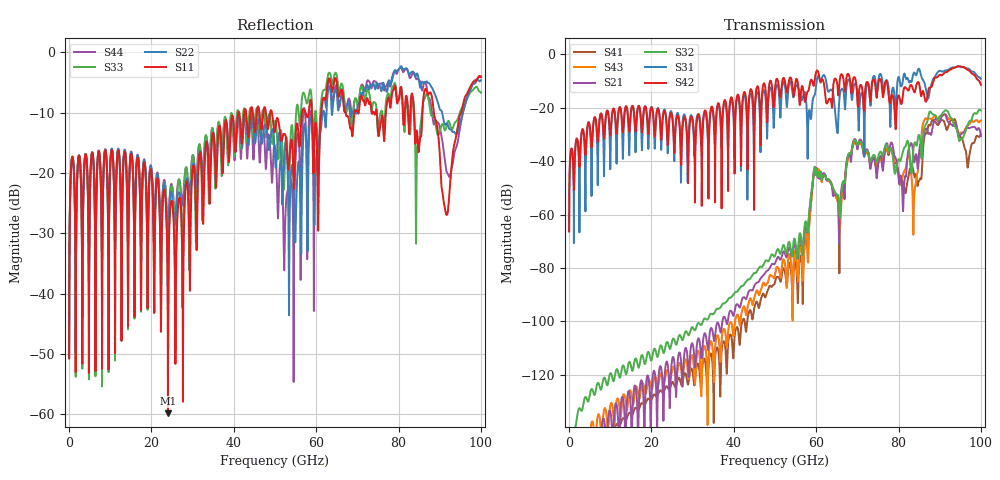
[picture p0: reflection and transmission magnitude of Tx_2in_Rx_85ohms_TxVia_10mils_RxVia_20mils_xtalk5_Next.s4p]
! Info: Touchstone file created by Circ.  Input file=Tx_2in_Rx_85ohms_TxVia_10mils_RxVia_20mils.circ
# Hz S RI R 50
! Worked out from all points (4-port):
!   10000 points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, 10 MHz to 100 GHz, reference 50 ohm
!   strongest paths, dB at 10 MHz, 25.01 GHz, 50.01 GHz, 75.01 GHz, 100 GHz:
!     S42: -66.3, -23.1, -12.7, -11.8, -11.4
!     S31: -66.3, -22.5, -15.9, -11.2, -9.1
!     S32: -177.6, -107.4, -75.4, -38.7, -20.9
!     S21: -, -114.4, -78.3, -41.5, -30.6
!     S43: -154.4, -118.2, -82.3, -40.6, -24.8
!     S41: -154.5, -122.8, -85.3, -41.2, -30.0
!   lowest |S11| = -59.9 dB at 24 GHz (marker M1), VSWR 1.00, Z = 50 - j0.101 ohm
!   |S11| at or under -10 dB: start of sweep to 41.09 GHz; 49.25 GHz to 56.56 GHz (7.302 GHz wide, 13.8 % of centre); 88.59 GHz to 95.21 GHz (6.623 GHz wide, 7.21 % of centre) (the widest 3 of 18)
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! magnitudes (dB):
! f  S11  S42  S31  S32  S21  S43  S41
! 10 MHz  -50.7  -66.3  -66.3  -177.6  -  -154.4  -154.5
! 6.22 GHz  -25.0  -23.5  -23.6  -127.5  -147.3  -147.4  -150.1
! 24 GHz  -59.9  -33.6  -35.7  -108.0  -116.7  -118.5  -124.9
! 55.46 GHz  -11.9  -9.9  -11.9  -76.4  -75.2  -82.9  -88.8
! 69.28 GHz  -10.2  -8.5  -11.2  -32.3  -31.8  -33.2  -32.9
! 83.78 GHz  -10.5  -14.0  -6.8  -33.8  -40.2  -53.7  -45.0
! 100 GHz  -4.1  -11.4  -9.1  -20.9  -30.6  -24.8  -30.0
